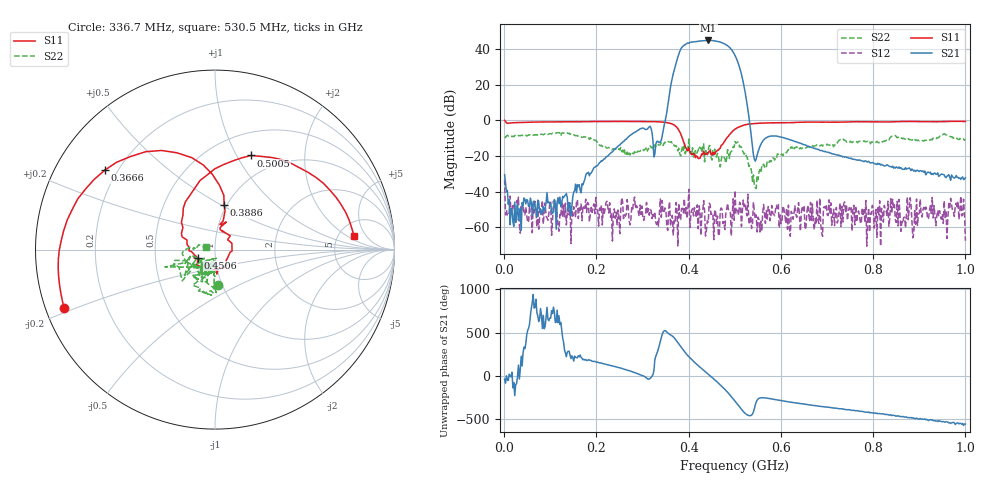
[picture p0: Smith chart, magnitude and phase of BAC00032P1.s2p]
!measured: 2026-10-27T15:20:50
!cal_instance: BBtestOct27
!cal_created: 2026-10-27T14:45
!cal_file: BBtesting.cal
!port1_delay_ps: -58.63
!port2_delay_ps: -59.31
!host: dhcp-10-250-247-203.harvard.edu
! Created with skrf 2.1.0 (http://scikit-rf.org).
# Hz S RI R 50.0
!freq ReS11 ImS11 ReS21 ImS21 ReS12 ImS12 ReS22 ImS22
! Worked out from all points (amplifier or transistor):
!   501 points, 1 MHz to 1 GHz, reference 50 ohm
!   highest |S21| = 44.7 dB at 442.6 MHz (marker M1)
!   |S21| within 3 dB of that: 388.7 MHz to 484.7 MHz (95.99 MHz wide, 22 % of centre)
!   unconditionally stable (mu >= 1): start of sweep to 390.5 MHz; 432.8 MHz to 500 MHz; 501.2 MHz to end of sweep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
!   at 166.8 MHz: K = 1875.91, MAG = -32.6 dB, |S12| = -47.0 dB
!   at 500.5 MHz: K = 0.74, MSG = 37.9 dB, |S12| = -39.4 dB
!   at 1 GHz: K = 6387.24, MAG = -23.4 dB, |S12| = -67.5 dB
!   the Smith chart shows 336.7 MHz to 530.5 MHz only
!   S11 on the Smith chart (normalised r, x): 336.7 MHz: 0.05, -0.19; 366.6 MHz: 0.15, +0.32; 388.6 MHz: 0.97, +0.52; 450.6 MHz: 0.82, -0.07; 500.5 MHz: 0.75, +1.15; 530.5 MHz: 7.03, +2.64
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1000000  -0.3929 0.9141  0.0241 -0.0175  -0.0146 0.0162  0.3335 -0.0348
1.68832e8  0.4962 -0.7619  -0.0149 -0.00697  -0.0015 0.000259  -0.0232 -0.3294
3.34666e8  -0.828 -0.3629  0.1825 -0.1594  0.00103 -0.000312  0.0469 -0.1973
3.36664e8  -0.8416 -0.3274  0.2359 -0.000775  0.0016 0.00221  0.0185 -0.1999
3.66634e8  -0.6144 0.4422  -0.4762 20.18  0.000243 0.000555  -0.1248 -0.199
3.76624e8  -0.2141 0.5398  53.96 23.67  2.86e-05 -0.000298  -0.1112 -0.0815
3.82618e8  -0.0141 0.4188  90.86 -31.98  -0.000727 -0.00146  -0.0858 -0.0504
3.88612e8  0.0508 0.2498  57.68 -107.2  0.000962 0.00233  -0.1383 -0.0382
3.98602e8  0.0358 0.1383  -90.12 -116  -0.000811 -0.00374  -0.156 -0.0699
4.1059e8  0.0692 0.0865  -154.3 31.41  0.000984 -0.00183  -0.055 -0.0733
4.26574e8  0.0647 -0.074  -9.689 166.6  0.000187 0.000556  -0.0766 -0.1533
4.42558e8  -0.0759 -0.0966  161 61.2  0.00111 -0.000821  -0.0619 -0.1344
4.5055e8  -0.096 -0.0441  165.1 -47.09  -0.00108 -0.00232  -0.0589 -0.0486
4.64536e8  -0.1437 0.012  21.17 -158.7  0.000303 -0.000485  -0.0422 -0.0849
4.78522e8  -0.1788 0.1909  -122.9 -59.25  0.000818 -0.000263  -0.00414 -0.0861
4.9051e8  -0.0432 0.416  -73.42 72.99  -0.00121 -0.00228  -0.0571 -0.1127
5.005e8  0.2007 0.5243  22.48 61.41  -0.0102 0.00333  -0.1828 -0.1745
5.12488e8  0.5186 0.4303  23.86 -5.05  -0.000678 -0.00416  -0.1831 -0.0201
5.3047e8  0.7754 0.0739  -0.1349 -1.276  -2.87e-05 0.00139  -0.049 0.013
6.68332e8  0.0541 -0.8825  0.1568 0.0621  9.67e-05 0.00444  0.0234 -0.192
8.34166e8  -0.595 -0.6724  0.000437 -0.0515  0.000964 0.000451  -0.1679 -0.2277
1e9  -0.887 -0.263  -0.0237 0.00635  0.000341 -0.000244  -0.2522 -0.1528
